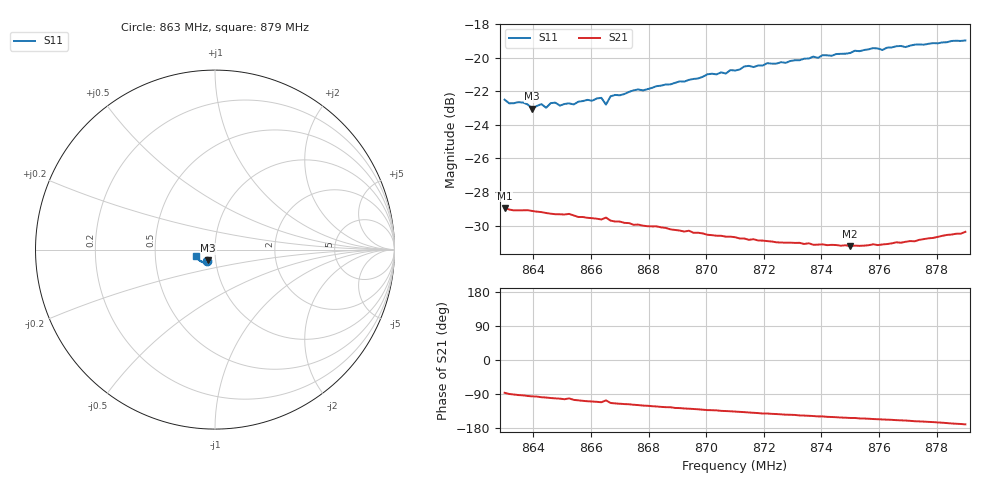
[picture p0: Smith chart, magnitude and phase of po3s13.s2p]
# HZ S RI R 50
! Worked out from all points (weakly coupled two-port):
!   101 points, 863 MHz to 879 MHz, reference 50 ohm
!   highest |S21| = -28.95 dB at 863 MHz (marker M1); lowest = -31.2 dB at 875 MHz (marker M2)
!   lowest |S11| = -23.0 dB at 863.96 MHz (marker M3), VSWR 1.15, Z = 46 - j5.5 ohm
!   |S11| at or under -10 dB: start of sweep to end of sweep
!   S12 and S22 are empty: the file has one direction only
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8.63e8  -0.0437 -0.0609  0.00213 -0.0356  0 0  0 0
8.6316e8  -0.0422 -0.0597  0.000196 -0.0353  0 0  0 0
8.6364e8  -0.0407 -0.0612  -0.00201 -0.0351  0 0  0 0
8.6396e8  -0.038 -0.0594  -0.00362 -0.0348  0 0  0 0
8.6428e8  -0.0381 -0.062  -0.00495 -0.0343  0 0  0 0
8.6444e8  -0.0374 -0.0602  -0.00542 -0.034  0 0  0 0
8.646e8  -0.0387 -0.0621  -0.00615 -0.0338  0 0  0 0
8.6492e8  -0.0377 -0.0613  -0.00709 -0.0334  0 0  0 0
8.6572e8  -0.0366 -0.0646  -0.0102 -0.0319  0 0  0 0
8.6636e8  -0.0394 -0.0649  -0.0121 -0.0307  0 0  0 0
8.6652e8  -0.0288 -0.0665  -0.00952 -0.032  0 0  0 0
8.6668e8  -0.0383 -0.0665  -0.013 -0.03  0 0  0 0
8.6844e8  -0.0437 -0.07  -0.0174 -0.026  0 0  0 0
8.6972e8  -0.0489 -0.0716  -0.0194 -0.023  0 0  0 0
8.7004e8  -0.0512 -0.073  -0.02 -0.022  0 0  0 0
8.71e8  -0.0562 -0.0723  -0.021 -0.0203  0 0  0 0
8.7132e8  -0.0582 -0.0739  -0.0214 -0.0195  0 0  0 0
8.7276e8  -0.067 -0.0695  -0.0228 -0.0164  0 0  0 0
8.7372e8  -0.0739 -0.0684  -0.0235 -0.0147  0 0  0 0
8.75e8  -0.0824 -0.0621  -0.0245 -0.0125  0 0  0 0
8.7644e8  -0.092 -0.0551  -0.0259 -0.0105  0 0  0 0
8.79e8  -0.1068 -0.0352  -0.0298 -0.00535  0 0  0 0
